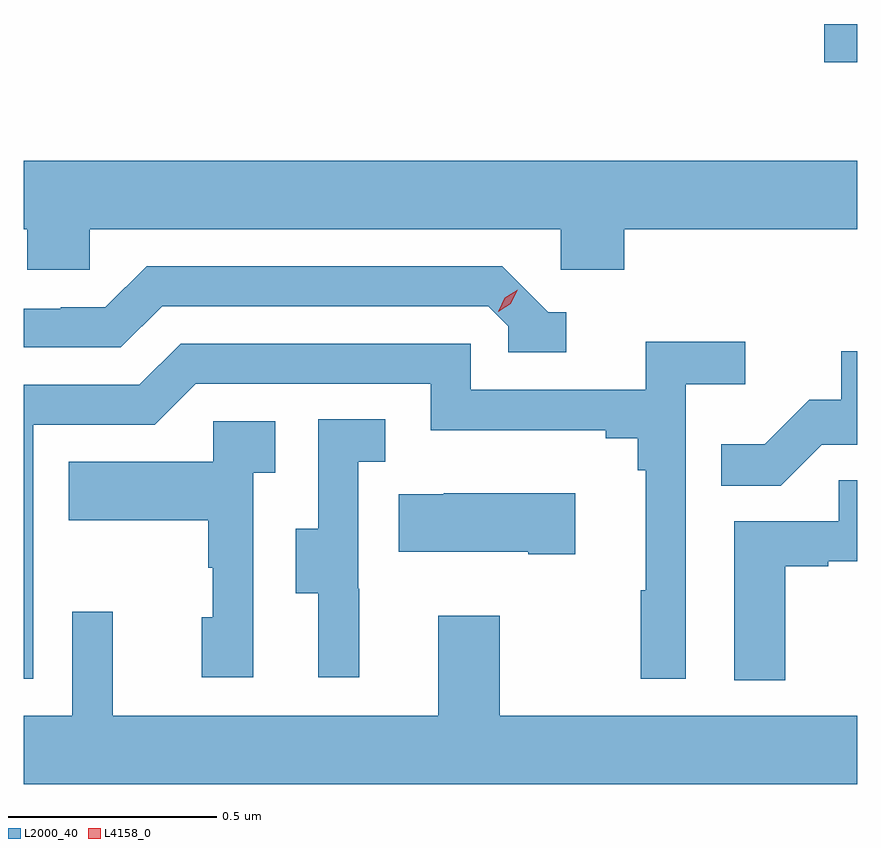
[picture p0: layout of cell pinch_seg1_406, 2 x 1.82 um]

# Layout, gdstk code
import gdstk
lib = gdstk.Library(unit=1e-6, precision=1e-09)
def R(c, l, rs):  # rectangles x0, y0, x1, y1
    for r in rs: c.add(gdstk.rectangle(r[:2], r[2:], *l))
def P(c, l, *ps):  # polygons
    for p in ps: c.add(gdstk.Polygon(p, *l))
L2000_40 = (2000, 40)
L4158_0 = (4158, 0)

pinch_seg1_406 = lib.new_cell('pinch_seg1_406')
R(pinch_seg1_406, L2000_40, [(1014.506,536.148,1014.585,536.24)])
P(pinch_seg1_406, L2000_40, [(1012.743,535.748),(1013.874,535.748),(1013.874,535.65),(1014.026,535.65),(1014.026,535.748),(1014.585,535.748),(1014.585,535.912),(1012.585,535.912),(1012.585,535.748),(1012.593,535.748),(1012.593,535.65),(1012.743,535.65)],
  [(1013.887,535.548),(1013.844,535.548),(1013.733,535.659),(1012.88,535.659),(1012.781,535.56),(1012.674,535.56),(1012.674,535.557),(1012.585,535.557),(1012.585,535.464),(1012.818,535.464),(1012.917,535.563),(1013.7,535.563),(1013.748,535.515),(1013.748,535.452),(1013.887,535.452)],
  [(1012.608,535.278),(1012.899,535.278),(1012.998,535.377),(1013.562,535.377),(1013.562,535.265),(1013.981,535.265),(1013.981,535.246),(1014.058,535.246),(1014.058,535.169),(1014.077,535.169),(1014.077,534.881),(1014.066,534.881),(1014.066,534.669),(1014.174,534.669),(1014.174,535.376),(1014.316,535.376),(1014.316,535.478),(1014.077,535.478),(1014.077,535.362),(1013.658,535.362),(1013.658,535.473),(1012.961,535.473),(1012.862,535.374),(1012.585,535.374),(1012.585,534.669),(1012.608,534.669)],
  [(1014.5,535.23),(1014.585,535.23),(1014.585,535.455),(1014.547,535.455),(1014.547,535.338),(1014.47,535.338),(1014.363,535.231),(1014.259,535.231),(1014.259,535.132),(1014.402,535.132)],
  [(1013.39,534.885),(1013.388,534.885),(1013.388,535.189),(1013.452,535.189),(1013.452,535.292),(1013.292,535.292),(1013.292,535.029),(1013.237,535.029),(1013.237,534.874),(1013.291,534.874),(1013.291,534.672),(1013.39,534.672)],
  [(1013.136,535.163),(1013.188,535.163),(1013.188,535.287),(1013.04,535.287),(1013.04,535.189),(1012.693,535.189),(1012.693,535.049),(1013.028,535.049),(1013.028,534.935),(1013.038,534.935),(1013.038,534.816),(1013.012,534.816),(1013.012,534.672),(1013.136,534.672)],
  [(1014.412,534.939),(1014.515,534.939),(1014.515,534.951),(1014.585,534.951),(1014.585,535.145),(1014.541,535.145),(1014.541,535.047),(1014.29,535.047),(1014.29,534.665),(1014.412,534.665)],
  [(1013.908,535.114),(1013.593,535.114),(1013.593,535.111),(1013.485,535.111),(1013.485,534.974),(1013.795,534.974),(1013.795,534.967),(1013.908,534.967)],
  [(1014.585,534.58),(1013.727,534.58),(1013.727,534.82),(1013.579,534.82),(1013.579,534.58),(1012.799,534.58),(1012.799,534.829),(1012.701,534.829),(1012.701,534.58),(1012.585,534.58),(1012.585,534.416),(1014.585,534.416)])
P(pinch_seg1_406, L4158_0, [(1013.723,535.55),(1013.723,535.55),(1013.739,535.583),(1013.77,535.602),(1013.77,535.602),(1013.77,535.602),(1013.754,535.569),(1013.723,535.55)])

lib.write_gds('pinch_seg1_406.gds')
